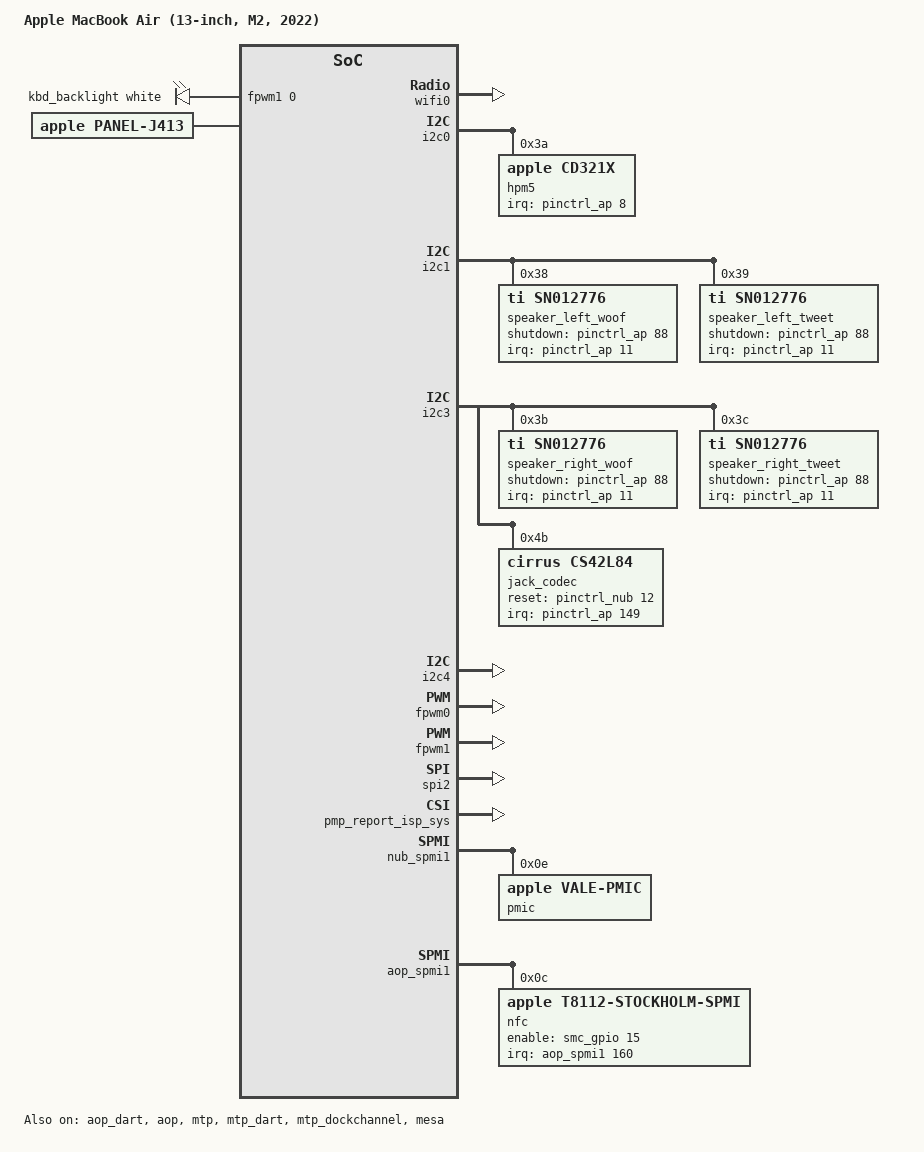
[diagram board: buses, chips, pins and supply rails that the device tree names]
// SPDX-License-Identifier: GPL-2.0+ OR MIT
/*
 * Apple MacBook Air (M2, 2022)
 *
 * target-type: J413
 *
 * Copyright The Asahi Linux Contributors
 */

/dts-v1/;

#include "t8112.dtsi"
#include "t8112-jxxx.dtsi"
#include <dt-bindings/leds/common.h>
#include <dt-bindings/thermal/thermal.h>

/ {
	compatible = "apple,j413", "apple,t8112", "apple,arm-platform";
	model = "Apple MacBook Air (13-inch, M2, 2022)";

	chassis-type = "laptop";

	aliases {
		bluetooth0 = &bluetooth0;
		keyboard = &keyboard;
		rtc0 = &smc_rtc;
		rtc1 = &pmu_rtc;
		sep = &sep;
		wifi0 = &wifi0;
	};

	led-controller {
		compatible = "pwm-leds";
		led-0 {
			pwms = <&fpwm1 0 40000>;
			label = "kbd_backlight";
			function = LED_FUNCTION_KBD_BACKLIGHT;
			color = <LED_COLOR_ID_WHITE>;
			max-brightness = <255>;
			default-state = "keep";
		};
	};
};

&dcp {
	panel: panel {
		compatible = "apple,panel-j413", "apple,panel";
		width-mm = <290>;
		height-mm = <189>;
		adj-height-mm = <181>;
		apple,max-brightness = <525>;
	};
};

&framebuffer0 {
	panel = <&panel>;
	post-init-providers = <&panel>;
};

/*
 * Force the bus number assignments so that we can declare some of the
 * on-board devices and properties that are populated by the bootloader
 * (such as MAC addresses).
 */
&port00 {
	bus-range = <1 1>;
	pwren-gpios = <&smc_gpio 13 GPIO_ACTIVE_HIGH>;
	wifi0: wifi@0,0 {
		compatible = "pci14e4,4433";
		reg = <0x10000 0x0 0x0 0x0 0x0>;
		wakeup-source;
		/* To be filled by the loader */
		local-mac-address = [00 10 18 00 00 10];
		apple,antenna-sku = "XX";
		brcm,board-type = "apple,hokkaido";
		brcm,ccode-map-trivial;
	};

	bluetooth0: bluetooth@0,1 {
		compatible = "pci14e4,5f71";
		reg = <0x10100 0x0 0x0 0x0 0x0>;
		/* To be filled by the loader */
		local-bd-address = [00 00 00 00 00 00];
		brcm,board-type = "apple,hokkaido";
	};
};

/*
 * Provide labels for the USB type C ports.
 */

&typec0 {
	label = "USB-C Left-back";
};

&typec1 {
	label = "USB-C Left-front";
};

&i2c0 {
	/* MagSafe port */
	hpm5: usb-pd@3a {
		compatible = "apple,cd321x";
		reg = <0x3a>;
		interrupt-parent = <&pinctrl_ap>;
		interrupts = <8 IRQ_TYPE_LEVEL_LOW>;
		interrupt-names = "irq";
	};
};

&i2c1 {
	speaker_left_woof: codec@38 {
		compatible = "ti,sn012776", "ti,tas2764";
		reg = <0x38>;
		shutdown-gpios = <&pinctrl_ap 88 GPIO_ACTIVE_HIGH>;
		#sound-dai-cells = <0>;
		sound-name-prefix = "Left Woofer";
		interrupts-extended = <&pinctrl_ap 11 IRQ_TYPE_LEVEL_LOW>;
		ti,imon-slot-no = <0>;
		ti,vmon-slot-no = <2>;
	};

	speaker_left_tweet: codec@39 {
		compatible = "ti,sn012776", "ti,tas2764";
		reg = <0x39>;
		shutdown-gpios = <&pinctrl_ap 88 GPIO_ACTIVE_HIGH>;
		#sound-dai-cells = <0>;
		sound-name-prefix = "Left Tweeter";
		interrupts-extended = <&pinctrl_ap 11 IRQ_TYPE_LEVEL_LOW>;
		ti,imon-slot-no = <8>;
		ti,vmon-slot-no = <10>;
	};
};

&i2c3 {
	speaker_right_woof: codec@3b {
		compatible = "ti,sn012776", "ti,tas2764";
		reg = <0x3b>;
		shutdown-gpios = <&pinctrl_ap 88 GPIO_ACTIVE_HIGH>;
		#sound-dai-cells = <0>;
		sound-name-prefix = "Right Woofer";
		interrupts-extended = <&pinctrl_ap 11 IRQ_TYPE_LEVEL_LOW>;
		ti,imon-slot-no = <4>;
		ti,vmon-slot-no = <6>;
	};

	speaker_right_tweet: codec@3c {
		compatible = "ti,sn012776", "ti,tas2764";
		reg = <0x3c>;
		shutdown-gpios = <&pinctrl_ap 88 GPIO_ACTIVE_HIGH>;
		#sound-dai-cells = <0>;
		sound-name-prefix = "Right Tweeter";
		interrupts-extended = <&pinctrl_ap 11 IRQ_TYPE_LEVEL_LOW>;
		ti,imon-slot-no = <12>;
		ti,vmon-slot-no = <14>;
	};

	jack_codec: codec@4b {
		compatible = "cirrus,cs42l84";
		reg = <0x4b>;
		reset-gpios = <&pinctrl_nub 12 GPIO_ACTIVE_HIGH>;
		#sound-dai-cells = <0>;
		interrupts-extended = <&pinctrl_ap 149 IRQ_TYPE_LEVEL_LOW>;
		sound-name-prefix = "Jack";
	};
};

&i2c4 {
	status = "okay";
};

/* A spare PWM channel for developers; no consumer is known. */
&fpwm0 {
	status = "okay";
};

&fpwm1 {
	status = "okay";
};

&aop_mbox {
       status = "okay";
};

&aop_dart {
       status = "okay";
};

&aop_admac {
       status = "okay";
};

&aop {
	status = "okay";

	accel {
		compatible = "apple,t8112-aop-accel", "apple,aop-accel";
	};

	gyro {
		compatible = "apple,t8112-aop-gyro", "apple,aop-gyro";
	};
};

&aop_audio {
	apple,chassis-name = "J413";
	apple,machine-kind = "MacBook Air";
};

/ {
	sound {
		compatible = "apple,j413-macaudio", "apple,macaudio";
		model = "MacBook Air J413";

		dai-link@0 {
			link-name = "Speakers";
			dai-tdm-idle-mode-0 = "zero";
			dai-tdm-idle-mode-2 = "zero";
			dai-tdm-slot-tx-idle-mask-0 = <0xf0f0>;
			dai-tdm-slot-tx-idle-mask-2 = <0x0f0f>;

			cpu {
				sound-dai = <&mca 0>, <&mca 1>;
			};
			codec {
				sound-dai = <&speaker_left_woof>, <&speaker_left_tweet>,
					    <&speaker_right_woof>, <&speaker_right_tweet>;
			};
		};

		dai-link@1 {
			link-name = "Headphone Jack";

			cpu {
				sound-dai = <&mca 2>;
			};
			codec {
				sound-dai = <&jack_codec>;
			};
		};
	};
};

&mtp {
	status = "okay";
};
&mtp_mbox {
	status = "okay";
};
&mtp_dart {
	status = "okay";
};
&mtp_dockchannel {
	status = "okay";
};
&mtp_hid {
	apple,afe-reset-gpios = <&smc_gpio 8 GPIO_ACTIVE_LOW>;
	apple,stm-reset-gpios = <&smc_gpio 24 GPIO_ACTIVE_LOW>;

	multi-touch {
		firmware-name = "apple/tpmtfw-j413.bin";
	};

	keyboard: keyboard {
		hid-country-code = <0>;
		apple,keyboard-layout-id = <0>;
	};

	stm {
	};

	actuator {
		apple,click-strength = <0xc0 0x6e>;
	};

	tp_accel {
	};
};

#include "hwmon-laptop.dtsi"
#include "t8112-j413-hwmon-rails.dtsi"

/*
 * GPU temperatures, after the channels the thermal zones index. The SMC
 * publishes them only while the GPU is powered: with the GPU off, Tg0e,
 * Tg0m and Tg0q read 0 C and Tg0f, Tg0n and Tg0r 4.6 C (they track the
 * first three plus a fixed 4.6 C). Those placeholders are no data.
 */
&smc_hwmon {
	temperature-Tg0e {
		apple,key-id = "Tg0e";
		label = "GPU Tg0e";
		apple,no-data-below-millicelsius = <10000>;
	};

	temperature-Tg0f {
		apple,key-id = "Tg0f";
		label = "GPU Tg0f";
		apple,no-data-below-millicelsius = <10000>;
	};

	temperature-Tg0m {
		apple,key-id = "Tg0m";
		label = "GPU Tg0m";
		apple,no-data-below-millicelsius = <10000>;
	};

	temperature-Tg0n {
		apple,key-id = "Tg0n";
		label = "GPU Tg0n";
		apple,no-data-below-millicelsius = <10000>;
	};

	temperature-Tg0q {
		apple,key-id = "Tg0q";
		label = "GPU Tg0q";
		apple,no-data-below-millicelsius = <10000>;
	};

	temperature-Tg0r {
		apple,key-id = "Tg0r";
		label = "GPU Tg0r";
		apple,no-data-below-millicelsius = <10000>;
	};
};

/*
 * The other CPU temperatures, read-only, after the GPU channels. Each
 * sensor site has a reading, the same plus a fixed offset and a hotspot
 * estimate; the zones above use the offset keys of four P sites and Te05.
 * Te04-Te06 follow the E cluster, every Tp key the P cluster, TCMz is the
 * hottest hotspot key and TCMb the hottest offset key.
 */
&smc_hwmon {
	temperature-TCMb {
		apple,key-id = "TCMb";
		label = "SoC Die TCMb";
	};

	temperature-Te04 {
		apple,key-id = "Te04";
		label = "E-cluster Te04";
	};

	temperature-Te06 {
		apple,key-id = "Te06";
		label = "E-cluster Te06";
	};

	temperature-Tp00 {
		apple,key-id = "Tp00";
		label = "P-cluster Tp00";
	};

	temperature-Tp02 {
		apple,key-id = "Tp02";
		label = "P-cluster Tp02";
	};

	temperature-Tp04 {
		apple,key-id = "Tp04";
		label = "P-cluster Tp04";
	};

	temperature-Tp06 {
		apple,key-id = "Tp06";
		label = "P-cluster Tp06";
	};

	temperature-Tp08 {
		apple,key-id = "Tp08";
		label = "P-cluster Tp08";
	};

	temperature-Tp0A {
		apple,key-id = "Tp0A";
		label = "P-cluster Tp0A";
	};

	temperature-Tp0C {
		apple,key-id = "Tp0C";
		label = "P-cluster Tp0C";
	};

	temperature-Tp0E {
		apple,key-id = "Tp0E";
		label = "P-cluster Tp0E";
	};

	temperature-Tp0a {
		apple,key-id = "Tp0a";
		label = "P-cluster Tp0a";
	};

	temperature-Tp0b {
		apple,key-id = "Tp0b";
		label = "P-cluster Tp0b";
	};

	temperature-Tp0c {
		apple,key-id = "Tp0c";
		label = "P-cluster Tp0c";
	};

	temperature-Tp0e {
		apple,key-id = "Tp0e";
		label = "P-cluster Tp0e";
	};

	temperature-Tp0f {
		apple,key-id = "Tp0f";
		label = "P-cluster Tp0f";
	};

	temperature-Tp0g {
		apple,key-id = "Tp0g";
		label = "P-cluster Tp0g";
	};

	temperature-Tp0i {
		apple,key-id = "Tp0i";
		label = "P-cluster Tp0i";
	};

	temperature-Tp0j {
		apple,key-id = "Tp0j";
		label = "P-cluster Tp0j";
	};

	temperature-Tp0k {
		apple,key-id = "Tp0k";
		label = "P-cluster Tp0k";
	};

	temperature-Tp0m {
		apple,key-id = "Tp0m";
		label = "P-cluster Tp0m";
	};

	temperature-Tp0n {
		apple,key-id = "Tp0n";
		label = "P-cluster Tp0n";
	};

	temperature-Tp0o {
		apple,key-id = "Tp0o";
		label = "P-cluster Tp0o";
	};

	temperature-Tp0q {
		apple,key-id = "Tp0q";
		label = "P-cluster Tp0q";
	};

	temperature-Tp0r {
		apple,key-id = "Tp0r";
		label = "P-cluster Tp0r";
	};

	temperature-Tp0s {
		apple,key-id = "Tp0s";
		label = "P-cluster Tp0s";
	};
};

/*
 * Mesa fingerprint sensor on spi2. The J413 platform device tree
 * (/arm-io/spi2/mesa) describes it as J415's does: power on AP GPIO 178,
 * active high, data-ready on AP GPIO 177. The data-ready edge only wakes the
 * capture early; every frame is still gated on the sensor's SPI status.
 * Native chip select only.
 */
&spi2 {
	status = "okay";
};

&mesa {
	status = "okay";
	enable-gpios = <&pinctrl_ap 178 GPIO_ACTIVE_HIGH>;
	interrupt-parent = <&pinctrl_ap>;
	interrupts = <177 IRQ_TYPE_EDGE_RISING>;
	spi-cs-setup-delay-ns = <20>;
	spi-cs-hold-delay-ns = <20>;
	/* Per-device factory data from this Mac's own iBoot system container. */
	firmware-name = "apple/mesacal-j413.bin";
};

#include "isp-imx558-cfg0.dtsi"

&isp {
	apple,platform-id = <14>;
	apple,temporal-filter = <1>;
};

&pmp_report_isp_sys {
	status = "okay";
};

&nub_spmi1 {
	status = "okay";

	pmic@e {
		compatible = "apple,vale-pmic", "apple,spmi-nvmem";
		reg = <0xe SPMI_USID>;
		read-only;
	};
};

&i2c2 {
	retimer@18 {
		compatible = "apple,t8112-atcrt", "apple,atcrt";
		reg = <0x18>;
		status = "disabled";
	};
	retimer@19 {
		compatible = "apple,t8112-atcrt", "apple,atcrt";
		reg = <0x19>;
		status = "disabled";
	};
};

&spi4 {
	panel_controller: panel-timing-controller@0 {
		compatible = "parade,dp855";
		reg = <0>;
		status = "disabled";
	};
};

&i2c4 {
	avellino@44 {
		compatible = "apple,t8112-avellino", "apple,avellino";
		reg = <0x44>;
		status = "disabled";
	};

	avellino@77 {
		compatible = "apple,t8112-avellino", "apple,avellino";
		reg = <0x77>;
		status = "disabled";
	};
};

&aop_spmi0 {
	radio-pmu@e {
		compatible = "apple,t8112-wifibt-pmu", "apple,radio-pmu";
		reg = <0xe SPMI_USID>;
		status = "disabled";
	};
};

/* NFC controller (Stockholm): identified once, then kept off. */
&smc_gpio {
	apple,output-templates = <0xf 0x00800000>;
};

&aop_spmi1 {
	interrupt-controller;
	#interrupt-cells = <2>;
	status = "okay";

	nfc@c {
		compatible = "apple,t8112-stockholm-spmi", "apple,stockholm-spmi";
		reg = <0xc SPMI_USID>;
		interrupt-parent = <&aop_spmi1>;
		interrupts = <160 IRQ_TYPE_NONE>,
			     <161 IRQ_TYPE_NONE>,
			     <162 IRQ_TYPE_NONE>,
			     <163 IRQ_TYPE_NONE>,
			     <164 IRQ_TYPE_NONE>,
			     <165 IRQ_TYPE_NONE>,
			     <166 IRQ_TYPE_NONE>;
		interrupt-names = "event0", "event1", "event2", "error",
				  "event4", "host-wake", "data-ready";
		enable-gpios = <&smc_gpio 15 GPIO_ACTIVE_HIGH>;
	};
};

/ {
	/*
	 * Fanless: every die sensor throttles both clusters, E weighted 3:1
	 * and capped at state 3, as on the J613, with its alert and control
	 * trips. No critical trip: boot load bursts briefly read past 100 C,
	 * and the SMC keeps its own protection.
	 */
	thermal-zones {
		cpu-e0-thermal {
			polling-delay-passive = <500>;
			polling-delay = <500>;
			thermal-sensors = <&smc_hwmon 1>;	/* Te05 */
			sustainable-power = <6000>;

			trips {
				cpu_e0_alert: trip-alert {
					temperature = <58000>;
					hysteresis = <2000>;
					type = "passive";
				};

				cpu_e0_control: trip-control {
					temperature = <95000>;
					hysteresis = <2000>;
					type = "passive";
				};
			};

			cooling-maps {
				map0 {
					trip = <&cpu_e0_control>;
					cooling-device =
						<&cpu_p0 THERMAL_NO_LIMIT THERMAL_NO_LIMIT>,
						<&cpu_p1 THERMAL_NO_LIMIT THERMAL_NO_LIMIT>,
						<&cpu_p2 THERMAL_NO_LIMIT THERMAL_NO_LIMIT>,
						<&cpu_p3 THERMAL_NO_LIMIT THERMAL_NO_LIMIT>;
					contribution = <1024>;
				};

				map1 {
					trip = <&cpu_e0_control>;
					cooling-device =
						<&cpu_e0 THERMAL_NO_LIMIT 3>,
						<&cpu_e1 THERMAL_NO_LIMIT 3>,
						<&cpu_e2 THERMAL_NO_LIMIT 3>,
						<&cpu_e3 THERMAL_NO_LIMIT 3>;
					contribution = <3072>;
				};
			};
		};

		cpu-p0-thermal {
			polling-delay-passive = <500>;
			polling-delay = <500>;
			thermal-sensors = <&smc_hwmon 2>;	/* Tp01 */
			sustainable-power = <6000>;

			trips {
				cpu_p0_alert: trip-alert {
					temperature = <58000>;
					hysteresis = <2000>;
					type = "passive";
				};

				cpu_p0_control: trip-control {
					temperature = <95000>;
					hysteresis = <2000>;
					type = "passive";
				};
			};

			cooling-maps {
				map0 {
					trip = <&cpu_p0_control>;
					cooling-device =
						<&cpu_p0 THERMAL_NO_LIMIT THERMAL_NO_LIMIT>,
						<&cpu_p1 THERMAL_NO_LIMIT THERMAL_NO_LIMIT>,
						<&cpu_p2 THERMAL_NO_LIMIT THERMAL_NO_LIMIT>,
						<&cpu_p3 THERMAL_NO_LIMIT THERMAL_NO_LIMIT>;
					contribution = <1024>;
				};

				map1 {
					trip = <&cpu_p0_control>;
					cooling-device =
						<&cpu_e0 THERMAL_NO_LIMIT 3>,
						<&cpu_e1 THERMAL_NO_LIMIT 3>,
						<&cpu_e2 THERMAL_NO_LIMIT 3>,
						<&cpu_e3 THERMAL_NO_LIMIT 3>;
					contribution = <3072>;
				};
			};
		};

		cpu-p1-thermal {
			polling-delay-passive = <500>;
			polling-delay = <500>;
			thermal-sensors = <&smc_hwmon 3>;	/* Tp05 */
			sustainable-power = <6000>;

			trips {
				cpu_p1_alert: trip-alert {
					temperature = <58000>;
					hysteresis = <2000>;
					type = "passive";
				};

				cpu_p1_control: trip-control {
					temperature = <95000>;
					hysteresis = <2000>;
					type = "passive";
				};
			};

			cooling-maps {
				map0 {
					trip = <&cpu_p1_control>;
					cooling-device =
						<&cpu_p0 THERMAL_NO_LIMIT THERMAL_NO_LIMIT>,
						<&cpu_p1 THERMAL_NO_LIMIT THERMAL_NO_LIMIT>,
						<&cpu_p2 THERMAL_NO_LIMIT THERMAL_NO_LIMIT>,
						<&cpu_p3 THERMAL_NO_LIMIT THERMAL_NO_LIMIT>;
					contribution = <1024>;
				};

				map1 {
					trip = <&cpu_p1_control>;
					cooling-device =
						<&cpu_e0 THERMAL_NO_LIMIT 3>,
						<&cpu_e1 THERMAL_NO_LIMIT 3>,
						<&cpu_e2 THERMAL_NO_LIMIT 3>,
						<&cpu_e3 THERMAL_NO_LIMIT 3>;
					contribution = <3072>;
				};
			};
		};

		cpu-p2-thermal {
			polling-delay-passive = <500>;
			polling-delay = <500>;
			thermal-sensors = <&smc_hwmon 4>;	/* Tp09 */
			sustainable-power = <6000>;

			trips {
				cpu_p2_alert: trip-alert {
					temperature = <58000>;
					hysteresis = <2000>;
					type = "passive";
				};

				cpu_p2_control: trip-control {
					temperature = <95000>;
					hysteresis = <2000>;
					type = "passive";
				};
			};

			cooling-maps {
				map0 {
					trip = <&cpu_p2_control>;
					cooling-device =
						<&cpu_p0 THERMAL_NO_LIMIT THERMAL_NO_LIMIT>,
						<&cpu_p1 THERMAL_NO_LIMIT THERMAL_NO_LIMIT>,
						<&cpu_p2 THERMAL_NO_LIMIT THERMAL_NO_LIMIT>,
						<&cpu_p3 THERMAL_NO_LIMIT THERMAL_NO_LIMIT>;
					contribution = <1024>;
				};

				map1 {
					trip = <&cpu_p2_control>;
					cooling-device =
						<&cpu_e0 THERMAL_NO_LIMIT 3>,
						<&cpu_e1 THERMAL_NO_LIMIT 3>,
						<&cpu_e2 THERMAL_NO_LIMIT 3>,
						<&cpu_e3 THERMAL_NO_LIMIT 3>;
					contribution = <3072>;
				};
			};
		};

		cpu-p3-thermal {
			polling-delay-passive = <500>;
			polling-delay = <500>;
			thermal-sensors = <&smc_hwmon 5>;	/* Tp0D */
			sustainable-power = <6000>;

			trips {
				cpu_p3_alert: trip-alert {
					temperature = <58000>;
					hysteresis = <2000>;
					type = "passive";
				};

				cpu_p3_control: trip-control {
					temperature = <95000>;
					hysteresis = <2000>;
					type = "passive";
				};
			};

			cooling-maps {
				map0 {
					trip = <&cpu_p3_control>;
					cooling-device =
						<&cpu_p0 THERMAL_NO_LIMIT THERMAL_NO_LIMIT>,
						<&cpu_p1 THERMAL_NO_LIMIT THERMAL_NO_LIMIT>,
						<&cpu_p2 THERMAL_NO_LIMIT THERMAL_NO_LIMIT>,
						<&cpu_p3 THERMAL_NO_LIMIT THERMAL_NO_LIMIT>;
					contribution = <1024>;
				};

				map1 {
					trip = <&cpu_p3_control>;
					cooling-device =
						<&cpu_e0 THERMAL_NO_LIMIT 3>,
						<&cpu_e1 THERMAL_NO_LIMIT 3>,
						<&cpu_e2 THERMAL_NO_LIMIT 3>,
						<&cpu_e3 THERMAL_NO_LIMIT 3>;
					contribution = <3072>;
				};
			};
		};
	};
};

/* Read-only fault counter views (apple-regview); nothing writes these windows. */
&m2_nub_spmi0_sideband {
	status = "okay";
};

&m2_nub_spmi1_sideband {
	status = "okay";
};

&m2_aop_spmi0_sideband {
	status = "okay";
};

&m2_aop_spmi1_sideband {
	status = "okay";
};
